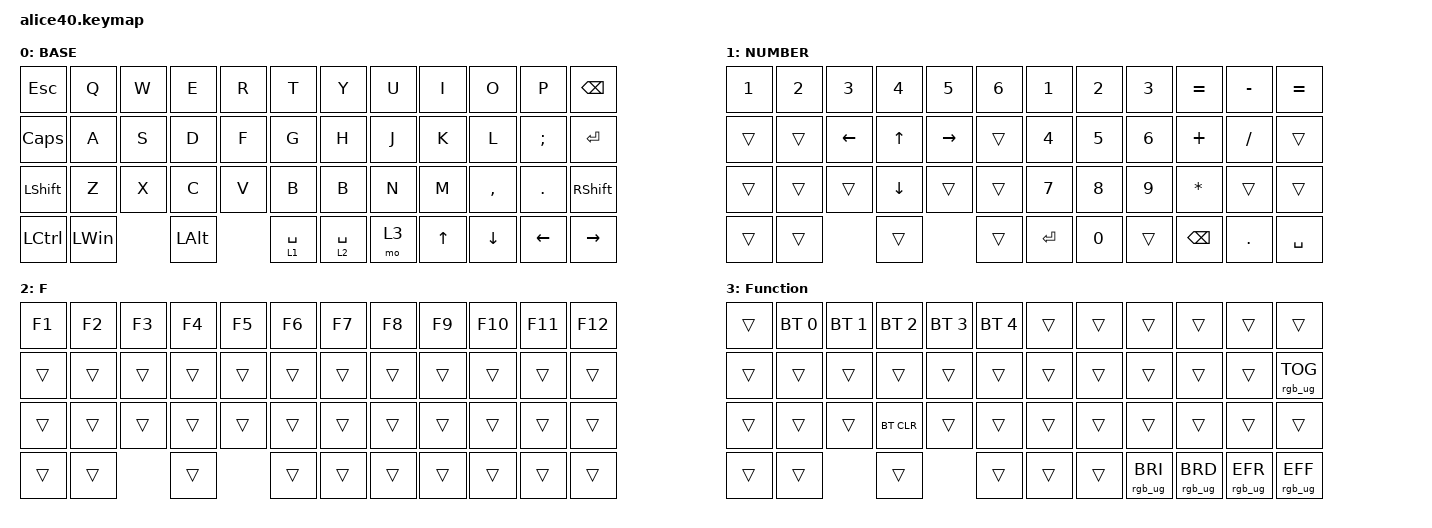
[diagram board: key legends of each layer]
#include <behaviors.dtsi>
#include <dt-bindings/zmk/bt.h>
#include <dt-bindings/zmk/keys.h>
#include <dt-bindings/zmk/rgb.h>

/ {
    keymap {
        compatible = "zmk,keymap";

        Base_layer {
            label = "BASE";
            bindings = <
&kp ESC       &kp Q         &kp W  &kp E         &kp R  &kp T        &kp Y        &kp U  &kp I   &kp O      &kp P          &kp BACKSPACE
&kp CAPSLOCK  &kp A         &kp S  &kp D         &kp F  &kp G        &kp H        &kp J  &kp K   &kp L      &kp SEMICOLON  &kp ENTER
&kp LSHIFT    &kp Z         &kp X  &kp C         &kp V  &kp B        &kp B        &kp N  &kp M   &kp COMMA  &kp DOT        &kp RSHIFT
&kp LCTRL     &kp LEFT_WIN         &kp LEFT_ALT         &lt 1 SPACE  &lt 2 SPACE  &mo 3  &kp UP  &kp DOWN   &kp LEFT       &kp RIGHT
            >;
        };

        Number_layer {
            bindings = <
&kp N1  &kp N2  &kp N3          &kp N4          &kp N5           &kp N6  &kp NUMBER_1  &kp NUMBER_2  &kp NUMBER_3  &kp EQUAL      &kp MINUS  &kp EQUAL
&trans  &trans  &kp LEFT_ARROW  &kp UP_ARROW    &kp RIGHT_ARROW  &trans  &kp NUMBER_4  &kp NUMBER_5  &kp NUMBER_6  &kp PLUS       &kp SLASH  &trans
&trans  &trans  &trans          &kp DOWN_ARROW  &trans           &trans  &kp NUMBER_7  &kp NUMBER_8  &kp NUMBER_9  &kp ASTERISK   &trans     &trans
&trans  &trans                  &trans                           &trans  &kp ENTER     &kp N0        &trans        &kp BACKSPACE  &kp DOT    &kp SPACE
            >;

            label = "NUMBER";
        };

        F_layer {
            bindings = <
&kp F1  &kp F2  &kp F3  &kp F4  &kp F5  &kp F6  &kp F7  &kp F8  &kp F9  &kp F10  &kp F11  &kp F12
&trans  &trans  &trans  &trans  &trans  &trans  &trans  &trans  &trans  &trans   &trans   &trans
&trans  &trans  &trans  &trans  &trans  &trans  &trans  &trans  &trans  &trans   &trans   &trans
&trans  &trans          &trans          &trans  &trans  &trans  &trans  &trans   &trans   &trans
            >;

            label = "F";
        };

        Function_layer {
            bindings = <
&trans  &bt BT_SEL 0  &bt BT_SEL 1  &bt BT_SEL 2  &bt BT_SEL 3  &bt BT_SEL 4  &trans  &trans  &trans           &trans           &trans           &trans
&trans  &trans        &trans        &trans        &trans        &trans        &trans  &trans  &trans           &trans           &trans           &rgb_ug RGB_TOG
&trans  &trans        &trans        &bt BT_CLR    &trans        &trans        &trans  &trans  &trans           &trans           &trans           &trans
&trans  &trans                      &trans                      &trans        &trans  &trans  &rgb_ug RGB_BRI  &rgb_ug RGB_BRD  &rgb_ug RGB_EFR  &rgb_ug RGB_EFF
            >;

            label = "Function";
        };
    };
};
